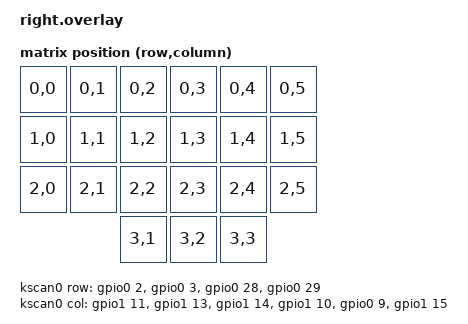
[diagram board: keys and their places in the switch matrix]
// Copyright (c) 2025
// SPDX-License-Identifier: MIT

#include <dt-bindings/zmk/matrix_transform.h>

/ {
    chosen {
        zmk,kscan = &kscan0;
        zmk,matrix-transform = &default_transform;
    };

    default_transform: keymap_transform_0 {
        compatible = "zmk,matrix-transform";
        columns = <6>;
        rows = <4>;
        
        // Matrix to key position mapping based on circuit diagram
        // Row 0: SW1,  SW4,  SW7,  SW10, SW14, SW18
        // Row 1: SW2,  SW5,  SW8,  SW11, SW15, SW19
        // Row 2: SW3,  SW6,  SW9,  SW12, SW16, SW20
        // Row 3: ---, ---, ---, SW21, SW17, SW13
        
        map = <
            RC(0,0) RC(0,1) RC(0,2) RC(0,3) RC(0,4) RC(0,5)
            RC(1,0) RC(1,1) RC(1,2) RC(1,3) RC(1,4) RC(1,5)
            RC(2,0) RC(2,1) RC(2,2) RC(2,3) RC(2,4) RC(2,5)
                            RC(3,1) RC(3,2) RC(3,3)
        >;
    };

    kscan0: kscan_0 {
        compatible = "zmk,kscan-gpio-matrix";
        diode-direction = "col2row";
        
        col-gpios
            = <&gpio1 11 GPIO_ACTIVE_HIGH>  // col0 - D6/TX/P1.11
            , <&gpio1 13 GPIO_ACTIVE_HIGH>  // col1 - D8/SCK/P1.13
            , <&gpio1 14 GPIO_ACTIVE_HIGH>  // col2 - D10/MOSI/P1.14
            , <&gpio1 10 GPIO_ACTIVE_HIGH>  // col3 - D7/RX/P1.10
            , <&gpio0 9 GPIO_ACTIVE_HIGH>   // col4 - NFC1/P0.09
            , <&gpio1 15 GPIO_ACTIVE_HIGH>  // col5 - D9/MISO/P1.15
            ;
        
        row-gpios
            = <&gpio0 2 (GPIO_ACTIVE_HIGH | GPIO_PULL_DOWN)>   // row0 - D0/A0/P0.02
            , <&gpio0 3 (GPIO_ACTIVE_HIGH | GPIO_PULL_DOWN)>   // row1 - D1/A1/P0.03
            , <&gpio0 28 (GPIO_ACTIVE_HIGH | GPIO_PULL_DOWN)>  // row2 - D2/A2/P0.28
            , <&gpio0 29 (GPIO_ACTIVE_HIGH | GPIO_PULL_DOWN)>  // row3 - D3/A3/P0.29
            ;
    };
};
